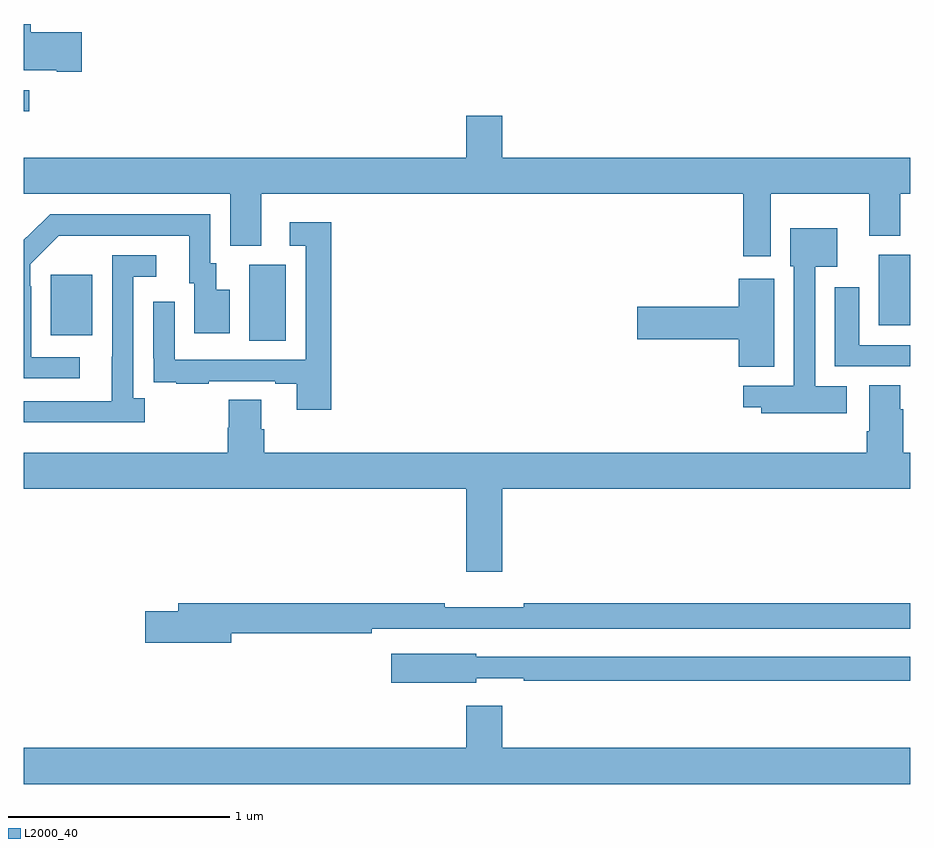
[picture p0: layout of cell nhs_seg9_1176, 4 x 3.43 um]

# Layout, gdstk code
import gdstk
lib = gdstk.Library(unit=1e-6, precision=1e-09)
def R(c, l, rs):  # rectangles x0, y0, x1, y1
    for r in rs: c.add(gdstk.rectangle(r[:2], r[2:], *l))
def P(c, l, *ps):  # polygons
    for p in ps: c.add(gdstk.Polygon(p, *l))
L2000_40 = (2000, 40)

nhs_seg9_1176 = lib.new_cell('nhs_seg9_1176')
R(nhs_seg9_1176, L2000_40, [(176.018,1245.04,176.182,1245.384), (175.121,1245.065,175.309,1245.34), (178.859,1245.11,179,1245.43), (175,1246.077,175.024,1246.173)])
P(nhs_seg9_1176, L2000_40, [(175.261,1246.433),(175.03,1246.433),(175.03,1246.471),(175,1246.471),(175,1246.262),(175.148,1246.262),(175.148,1246.255),(175.261,1246.255)],
  [(178.372,1245.704),(178.817,1245.704),(178.817,1245.515),(178.957,1245.515),(178.957,1245.704),(179,1245.704),(179,1245.868),(177.16,1245.868),(177.16,1246.057),(176.996,1246.057),(176.996,1245.868),(175,1245.868),(175,1245.704),(175.931,1245.704),(175.931,1245.469),(176.071,1245.469),(176.071,1245.704),(178.247,1245.704),(178.247,1245.423),(178.372,1245.423)],
  [(175.252,1244.967),(175.032,1244.967),(175.032,1245.287),(175.029,1245.287),(175.029,1245.387),(175.158,1245.516),(175.745,1245.516),(175.745,1245.3),(175.769,1245.3),(175.769,1245.075),(175.93,1245.075),(175.93,1245.271),(175.867,1245.271),(175.867,1245.39),(175.842,1245.39),(175.842,1245.612),(175.118,1245.612),(175.027,1245.521),(175.026,1245.522),(175,1245.496),(175,1244.871),(175.252,1244.871)],
  [(176.387,1245.577),(176.199,1245.577),(176.199,1245.471),(176.271,1245.471),(176.271,1244.955),(175.68,1244.955),(175.68,1245.217),(175.584,1245.217),(175.584,1244.962),(175.585,1244.962),(175.585,1244.853),(175.687,1244.853),(175.687,1244.847),(175.835,1244.847),(175.835,1244.859),(176.135,1244.859),(176.135,1244.847),(176.231,1244.847),(176.231,1244.73),(176.387,1244.73)],
  [(178.714,1244.836),(178.572,1244.836),(178.572,1245.374),(178.672,1245.374),(178.672,1245.55),(178.46,1245.55),(178.46,1245.378),(178.476,1245.378),(178.476,1244.838),(178.248,1244.838),(178.248,1244.741),(178.329,1244.741),(178.329,1244.714),(178.714,1244.714)],
  [(175.546,1244.782),(175.494,1244.782),(175.494,1245.33),(175.597,1245.33),(175.597,1245.426),(175.398,1245.426),(175.398,1244.969),(175.397,1244.969),(175.397,1244.769),(175,1244.769),(175,1244.672),(175.546,1244.672)],
  [(178.387,1245.322),(178.226,1245.322),(178.226,1245.194),(177.768,1245.194),(177.768,1245.047),(178.226,1245.047),(178.226,1244.923),(178.387,1244.923)],
  [(179,1245.021),(178.771,1245.021),(178.771,1245.283),(178.661,1245.283),(178.661,1244.925),(179,1244.925)],
  [(177.16,1244.372),(179,1244.372),(179,1244.536),(178.97,1244.536),(178.97,1244.732),(178.957,1244.732),(178.957,1244.84),(178.817,1244.84),(178.817,1244.632),(178.805,1244.632),(178.805,1244.536),(176.084,1244.536),(176.084,1244.642),(176.071,1244.642),(176.071,1244.774),(175.924,1244.774),(175.924,1244.649),(175.919,1244.649),(175.919,1244.536),(175,1244.536),(175,1244.372),(176.996,1244.372),(176.996,1243.998),(177.16,1243.998)],
  [(175.936,1243.72),(176.57,1243.72),(176.57,1243.74),(179,1243.74),(179,1243.856),(177.256,1243.856),(177.256,1243.837),(176.9,1243.837),(176.9,1243.856),(175.697,1243.856),(175.697,1243.82),(175.548,1243.82),(175.548,1243.678),(175.936,1243.678)],
  [(177.042,1243.518),(177.256,1243.518),(177.256,1243.506),(179,1243.506),(179,1243.614),(177.042,1243.614),(177.042,1243.627),(176.658,1243.627),(176.658,1243.498),(177.042,1243.498)],
  [(179,1243.204),(177.16,1243.204),(177.16,1243.393),(176.996,1243.393),(176.996,1243.204),(175,1243.204),(175,1243.04),(179,1243.04)])

lib.write_gds('nhs_seg9_1176.gds')
